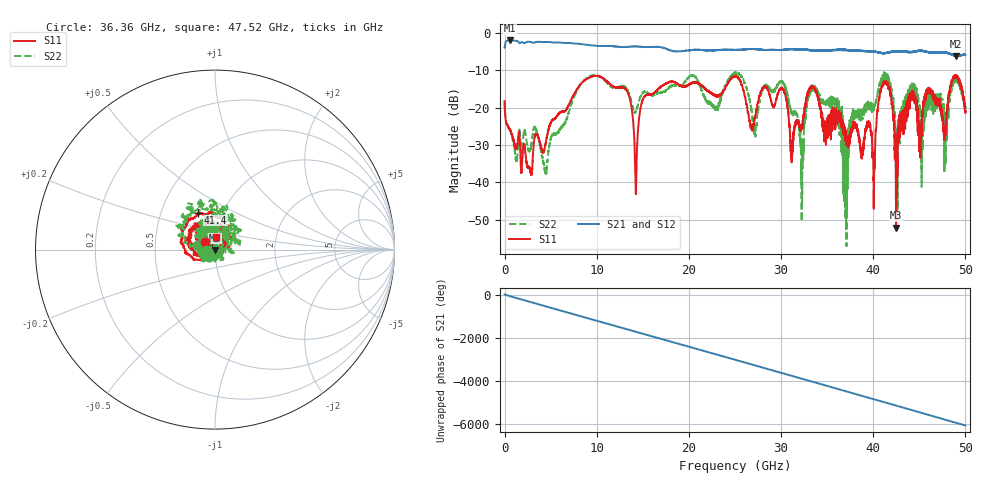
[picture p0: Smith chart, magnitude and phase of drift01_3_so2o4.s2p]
!Created with skrf (http://scikit-rf.org).
# Hz S RI R 50.0
!freq ReS11 ImS11 ReS21 ImS21 ReS12 ImS12 ReS22 ImS22
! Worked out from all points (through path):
!   10001 points, 300 kHz to 50 GHz, reference 50 ohm
!   highest |S21| = -2.00 dB at 575.3 MHz (marker M1); lowest = -6.2 dB at 48.98 GHz (marker M2)
!   group delay of S21, straight-line fit = 336 ps
!   lowest |S11| = -52.2 dB at 42.49 GHz (marker M3), VSWR 1.00, Z = 49.9 - j0.195 ohm
!   |S11| at or under -10 dB: start of sweep to end of sweep
!   |S22| runs from -57.1 to -10.5 dB; largest |S21 - S12| = 0.02
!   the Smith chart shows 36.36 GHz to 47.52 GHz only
!   S11 on the Smith chart (normalised r, x): 36.36 GHz: 0.89, +0.08; 41.4 GHz: 0.76, +0.33; 47.52 GHz: 1.00, +0.14
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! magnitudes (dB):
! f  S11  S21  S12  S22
! 300 kHz  -18.3  -3.9  -4.0  -18.1
! 575.3 MHz  -26.0  -2.0  -2.0  -26.0
! 4.435 GHz  -29.8  -2.4  -2.4  -37.0
! 8.335 GHz  -13.4  -3.0  -3.0  -13.5
! 13.16 GHz  -15.1  -3.8  -3.8  -14.7
! 14.25 GHz  -42.3  -3.6  -3.6  -21.0
! 16.67 GHz  -14.9  -3.7  -3.7  -15.9
! 25 GHz  -11.6  -4.5  -4.6  -10.9
! 27.14 GHz  -22.7  -4.3  -4.3  -25.7
! 30.2 GHz  -15.2  -4.5  -4.5  -13.4
! 32.23 GHz  -24.6  -4.3  -4.4  -42.9
! 33.34 GHz  -14.3  -4.7  -4.6  -14.4
! 36.36 GHz  -23.0  -4.5  -4.6  -25.7
! 37.04 GHz  -27.3  -4.6  -4.6  -33.6
! 40.03 GHz  -38.6  -5.0  -5.0  -20.8
! 41.4 GHz  -12.9  -5.4  -5.4  -11.2
! 41.67 GHz  -14.5  -5.1  -5.2  -12.5
! 42.49 GHz  -52.2  -4.8  -4.9  -30.3
! 44.17 GHz  -16.6  -5.1  -5.1  -13.9
! 47.52 GHz  -23.3  -5.2  -5.1  -19.5
! 48.98 GHz  -11.6  -6.2  -6.1  -12.9
! 50 GHz  -20.8  -5.9  -5.8  -19.9
